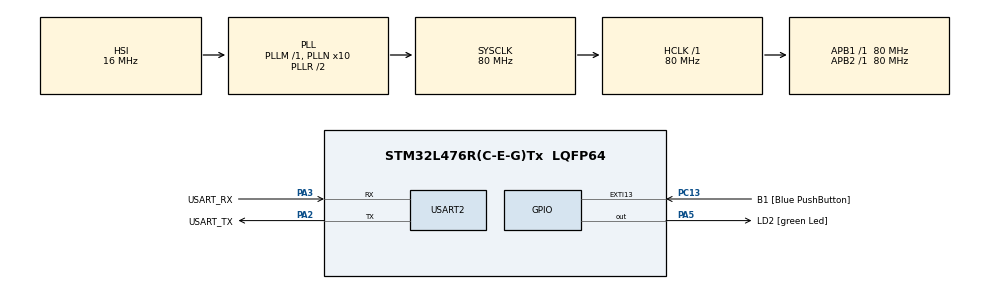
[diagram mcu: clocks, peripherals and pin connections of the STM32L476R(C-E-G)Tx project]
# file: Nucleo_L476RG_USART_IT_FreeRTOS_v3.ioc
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Mcu.Family=STM32L4
PA2.GPIO_PuPd=GPIO_NOPULL
FREERTOS.Queues01=RxQueue,128,uint8_t,0,Dynamic,NULL,NULL;Queue01,16,uint16_t,0,Dynamic,NULL,NULL
VP_SYS_VS_tim6.Mode=TIM6
RCC.CortexFreq_Value=80000000
FREERTOS.BinarySemaphores01=BinarySem01,Dynamic,NULL
NVIC.TIM6_DAC_IRQn=true\:0\:0\:false\:false\:true\:false\:false\:true
PH0-OSC_IN\ (PH0).Signal=RCC_OSC_IN
PA3.GPIO_PuPd=GPIO_NOPULL
PA2.GPIO_Speed=GPIO_SPEED_FREQ_VERY_HIGH
PC15-OSC32_OUT\ (PC15).Mode=LSE-External-Oscillator
PC13.GPIO_Label=B1 [Blue PushButton]
PA3.GPIO_Speed=GPIO_SPEED_FREQ_VERY_HIGH
RCC.SYSCLKSource=RCC_SYSCLKSOURCE_PLLCLK
ProjectManager.StackSize=0x1000
PB3\ (JTDO-TRACESWO).Signal=SYS_JTDO-SWO
PC14-OSC32_IN\ (PC14).Mode=LSE-External-Oscillator
PA14\ (JTCK-SWCLK).Signal=SYS_JTCK-SWCLK
RCC.HCLKFreq_Value=80000000
RCC.APB2TimFreq_Value=80000000
RCC.AHBFreq_Value=80000000
RCC.PREFETCH_ENABLE=1
RCC.HSE_VALUE=8000000
USART2.VirtualMode-Asynchronous=VM_ASYNC
PA5.GPIO_PuPd=GPIO_NOPULL
PC13.GPIO_PuPd=GPIO_NOPULL
VP_FREERTOS_VS_CMSIS_V1.Mode=CMSIS_V1
FREERTOS.configTOTAL_HEAP_SIZE=4000
Mcu.Package=LQFP64
FREERTOS.configUSE_NEWLIB_REENTRANT=1
NVIC.TimeBase=TIM6_DAC_IRQn
PA2.GPIO_Label=USART_TX
NVIC.TimeBaseIP=TIM6
RCC.APB1TimFreq_Value=80000000
PA13\ (JTMS-SWDIO).Signal=SYS_JTMS-SWDIO
PA3.Signal=USART2_RX
PA2.GPIO_Mode=GPIO_MODE_AF_PP
RCC.MSI_VALUE=4000000
RCC.PLLSourceVirtual=RCC_PLLSOURCE_HSI
PA14\ (JTCK-SWCLK).Mode=Serial_Wire
FREERTOS.Tasks01=UartTask,-3,512,StartUartTask,Default,NULL,Dynamic,NULL,NULL;LedTask,-3,128,StartLedTask,Default,NULL,Dynamic,NULL,NULL
PC13.Signal=GPXTI13
PC15-OSC32_OUT\ (PC15).Signal=RCC_OSC32_OUT
PA14\ (JTCK-SWCLK).GPIO_Label=TCK
PB3\ (JTDO-TRACESWO).GPIO_Label=SWO
NVIC.USART2_IRQn=true\:6\:0\:true\:false\:true\:false\:true\:true
PH1-OSC_OUT\ (PH1).Signal=RCC_OSC_OUT
PA3.Mode=Asynchronous
ProjectManager.TargetToolchain=STM32CubeIDE
PA3.GPIO_Mode=GPIO_MODE_AF_PP
RCC.USBFreq_Value=64000000
PA5.Signal=GPIO_Output
board=NUCLEO-L476RG
RCC.VCOOutputFreq_Value=160000000
RCC.APB2Freq_Value=80000000
PA5.GPIO_ModeDefaultOutputPP=GPIO_MODE_OUTPUT_PP
PA13\ (JTMS-SWDIO).GPIO_Label=TMS
RCC.ADCFreq_Value=64000000
Mcu.Name=STM32L476R(C-E-G)Tx
PA2.Signal=USART2_TX
PA13\ (JTMS-SWDIO).Mode=Serial_Wire
RCC.SYSCLKFreq_VALUE=80000000
PA5.GPIO_Label=LD2 [green Led]
PC13.GPIO_ModeDefaultEXTI=GPIO_MODE_IT_FALLING
PC14-OSC32_IN\ (PC14).Signal=RCC_OSC32_IN
ProjectManager.HeapSize=0x1000
RCC.HSI_VALUE=16000000
PA5.GPIO_Speed=GPIO_SPEED_FREQ_LOW
NVIC.PriorityGroup=NVIC_PRIORITYGROUP_4
RCC.PLLN=10
PA2.Mode=Asynchronous
RCC.APB1Freq_Value=80000000
PA3.GPIO_Label=USART_RX

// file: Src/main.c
/* USER CODE BEGIN Header */
/**
 ******************************************************************************
 * @file           : main.c
 * @brief          : Main program body
 ******************************************************************************
 * @attention
 *
 * <h2><center>&copy; Copyright (c) 2020 STMicroelectronics.
 * All rights reserved.</center></h2>
 *
 * This software component is licensed by ST under Ultimate Liberty license
 * SLA0044, the "License"; You may not use this file except in compliance with
 * the License. You may obtain a copy of the License at:
 *                             www.st.com/SLA0044
 *
 ******************************************************************************
 */
/* USER CODE END Header */
#include "main.h"
#include "cmsis_os.h"

/* USER CODE BEGIN Includes */

#include <stdio.h>
#include <stdlib.h>
#include <string.h>

/* USER CODE END Includes */

/* USER CODE BEGIN PTD */

typedef struct {
	char name[10];
	uint16_t nbArgs;
	void (*pCmdFunc)();
} CMD_T;

/* USER CODE END PTD */

osThreadId UartTaskHandle;
osThreadId LedTaskHandle;
osMessageQId RxQueueHandle;
osMessageQId Queue01Handle;
osSemaphoreId BinarySem01Handle;
/* USER CODE BEGIN PV */

__IO uint16_t cmdIndex=0;
#define DEBUG 1
#define MAXARGS 3 // 3 maximum number of arguments

void CMD_on(   uint16_t nbArgs, int32_t *args );
void CMD_off(  uint16_t nbArgs, int32_t *args );

const CMD_T CmdTable[] = {
		{"on",   0, (void*) CMD_on},
		{"off",  0, (void*) CMD_off},
		{"",     0, NULL}
};

uint8_t rxBuff[256];

static uint8_t rxInProgress = 0;
static uint_fast16_t rxItr = 0;
/* USER CODE END PV */

void SystemClock_Config(void);
static void MX_GPIO_Init(void);
static void MX_USART2_UART_Init(void);
void StartUartTask(void const * argument);
void StartLedTask(void const * argument);

/* USER CODE BEGIN PFP */

void UART_ReadString(char* str);
void CMD_Parser(char* str);

/* USER CODE END PFP */

/* USER CODE BEGIN 0 */

// printf under freeRTOS
// https://github.com/leech001/STM32-FreeRTOS-float

//1. Remove the heap_4.c file from the
//\Middlewares\Third_Party\FreeRTOS\Source\portable\MemMang\ directory of your project
//2. Copy the heap_useNewlib.c file from the given repository (src) to the above directory;
//3. Open the FreeRTOS configuration file (FreeRTOSConfig.h) and add an additional define to the section;

// /* USER CODE BEGIN Defines */
// /* Section where parameter definitions can be added (for instance, to override default ones in FreeRTOS.h) */
// #define configUSE_NEWLIB_REENTRANT 1
// /* USER CODE END Defines */
#define PRINTF

int _write(int file, char *ptr, int len)
{
	for (uint8_t i=0; i<len; i++){
		LL_USART_TransmitData8(USART2, ptr[i]);
		while ( !LL_USART_IsActiveFlag_TXE(USART2) )
		{
		}
	}
	return len;
}

/* USER CODE END 0 */

int main(void)
{

  /* MCU Configuration--------------------------------------------------------*/

  /* Reset of all peripherals, Initializes the Flash interface and the Systick. */
  HAL_Init();

  /* Configure the system clock */
  SystemClock_Config();

  /* Initialize all configured peripherals */
  MX_GPIO_Init();
  MX_USART2_UART_Init();

  /* Create the semaphores(s) */
  /* definition and creation of BinarySem01 */
  osSemaphoreDef(BinarySem01);
  BinarySem01Handle = osSemaphoreCreate(osSemaphore(BinarySem01), 1);

  /* USER CODE BEGIN RTOS_SEMAPHORES */
	/* add semaphores, ... */
  osSemaphoreWait(BinarySem01Handle, osWaitForever);
  /* USER CODE END RTOS_SEMAPHORES */

  /* Create the queue(s) */
  /* definition and creation of RxQueue */
  osMessageQDef(RxQueue, 128, uint8_t);
  RxQueueHandle = osMessageCreate(osMessageQ(RxQueue), NULL);

  /* definition and creation of Queue01 */
  osMessageQDef(Queue01, 16, uint16_t);
  Queue01Handle = osMessageCreate(osMessageQ(Queue01), NULL);

  /* Create the thread(s) */
  /* definition and creation of UartTask */
  osThreadDef(UartTask, StartUartTask, osPriorityIdle, 0, 512);
  UartTaskHandle = osThreadCreate(osThread(UartTask), NULL);

  /* definition and creation of LedTask */
  osThreadDef(LedTask, StartLedTask, osPriorityIdle, 0, 128);
  LedTaskHandle = osThreadCreate(osThread(LedTask), NULL);

  /* Start scheduler */
  osKernelStart();

  /* We should never get here as control is now taken by the scheduler */
  /* Infinite loop */
	while (1)
	{

	}
}

void SystemClock_Config(void)
{
  RCC_OscInitTypeDef RCC_OscInitStruct = {0};
  RCC_ClkInitTypeDef RCC_ClkInitStruct = {0};
  RCC_PeriphCLKInitTypeDef PeriphClkInit = {0};

  /** Initializes the RCC Oscillators according to the specified parameters
  * in the RCC_OscInitTypeDef structure.
  */
  RCC_OscInitStruct.OscillatorType = RCC_OSCILLATORTYPE_HSI;
  RCC_OscInitStruct.HSIState = RCC_HSI_ON;
  RCC_OscInitStruct.HSICalibrationValue = RCC_HSICALIBRATION_DEFAULT;
  RCC_OscInitStruct.PLL.PLLState = RCC_PLL_ON;
  RCC_OscInitStruct.PLL.PLLSource = RCC_PLLSOURCE_HSI;
  RCC_OscInitStruct.PLL.PLLM = 1;
  RCC_OscInitStruct.PLL.PLLN = 10;
  RCC_OscInitStruct.PLL.PLLP = RCC_PLLP_DIV7;
  RCC_OscInitStruct.PLL.PLLQ = RCC_PLLQ_DIV2;
  RCC_OscInitStruct.PLL.PLLR = RCC_PLLR_DIV2;
  if (HAL_RCC_OscConfig(&RCC_OscInitStruct) != HAL_OK)
  {
    Error_Handler();
  }
  /** Initializes the CPU, AHB and APB buses clocks
  */
  RCC_ClkInitStruct.ClockType = RCC_CLOCKTYPE_HCLK|RCC_CLOCKTYPE_SYSCLK
                              |RCC_CLOCKTYPE_PCLK1|RCC_CLOCKTYPE_PCLK2;
  RCC_ClkInitStruct.SYSCLKSource = RCC_SYSCLKSOURCE_PLLCLK;
  RCC_ClkInitStruct.AHBCLKDivider = RCC_SYSCLK_DIV1;
  RCC_ClkInitStruct.APB1CLKDivider = RCC_HCLK_DIV1;
  RCC_ClkInitStruct.APB2CLKDivider = RCC_HCLK_DIV1;

  if (HAL_RCC_ClockConfig(&RCC_ClkInitStruct, FLASH_LATENCY_4) != HAL_OK)
  {
    Error_Handler();
  }
  PeriphClkInit.PeriphClockSelection = RCC_PERIPHCLK_USART2;
  PeriphClkInit.Usart2ClockSelection = RCC_USART2CLKSOURCE_PCLK1;
  if (HAL_RCCEx_PeriphCLKConfig(&PeriphClkInit) != HAL_OK)
  {
    Error_Handler();
  }
  /** Configure the main internal regulator output voltage
  */
  if (HAL_PWREx_ControlVoltageScaling(PWR_REGULATOR_VOLTAGE_SCALE1) != HAL_OK)
  {
    Error_Handler();
  }
}

static void MX_USART2_UART_Init(void)
{

  LL_USART_InitTypeDef USART_InitStruct = {0};

  LL_GPIO_InitTypeDef GPIO_InitStruct = {0};

  /* Peripheral clock enable */
  LL_APB1_GRP1_EnableClock(LL_APB1_GRP1_PERIPH_USART2);

  LL_AHB2_GRP1_EnableClock(LL_AHB2_GRP1_PERIPH_GPIOA);
  /**USART2 GPIO Configuration
  PA2   ------> USART2_TX
  PA3   ------> USART2_RX
  */
  GPIO_InitStruct.Pin = LL_GPIO_PIN_2|LL_GPIO_PIN_3;
  GPIO_InitStruct.Mode = LL_GPIO_MODE_ALTERNATE;
  GPIO_InitStruct.Speed = LL_GPIO_SPEED_FREQ_VERY_HIGH;
  GPIO_InitStruct.OutputType = LL_GPIO_OUTPUT_PUSHPULL;
  GPIO_InitStruct.Pull = LL_GPIO_PULL_NO;
  GPIO_InitStruct.Alternate = LL_GPIO_AF_7;
  LL_GPIO_Init(GPIOA, &GPIO_InitStruct);

  /* USART2 interrupt Init */
  NVIC_SetPriority(USART2_IRQn, NVIC_EncodePriority(NVIC_GetPriorityGrouping(),6, 0));
  NVIC_EnableIRQ(USART2_IRQn);

  USART_InitStruct.BaudRate = 115200;
  USART_InitStruct.DataWidth = LL_USART_DATAWIDTH_8B;
  USART_InitStruct.StopBits = LL_USART_STOPBITS_1;
  USART_InitStruct.Parity = LL_USART_PARITY_NONE;
  USART_InitStruct.TransferDirection = LL_USART_DIRECTION_TX_RX;
  USART_InitStruct.HardwareFlowControl = LL_USART_HWCONTROL_NONE;
  USART_InitStruct.OverSampling = LL_USART_OVERSAMPLING_16;
  LL_USART_Init(USART2, &USART_InitStruct);
  LL_USART_ConfigAsyncMode(USART2);
  LL_USART_Enable(USART2);
  /* USER CODE BEGIN USART2_Init 2 */

	/* Polling USART initialisation */
	while((!(LL_USART_IsActiveFlag_TEACK(USART2))) || (!(LL_USART_IsActiveFlag_REACK(USART2))))
	{
	}

  /* USER CODE END USART2_Init 2 */

}

static void MX_GPIO_Init(void)
{
  GPIO_InitTypeDef GPIO_InitStruct = {0};

  /* GPIO Ports Clock Enable */
  __HAL_RCC_GPIOC_CLK_ENABLE();
  __HAL_RCC_GPIOH_CLK_ENABLE();
  __HAL_RCC_GPIOA_CLK_ENABLE();
  __HAL_RCC_GPIOB_CLK_ENABLE();

  /*Configure GPIO pin Output Level */
  HAL_GPIO_WritePin(LD2_GPIO_Port, LD2_Pin, GPIO_PIN_RESET);

  /*Configure GPIO pin : B1_Pin */
  GPIO_InitStruct.Pin = B1_Pin;
  GPIO_InitStruct.Mode = GPIO_MODE_IT_FALLING;
  GPIO_InitStruct.Pull = GPIO_NOPULL;
  HAL_GPIO_Init(B1_GPIO_Port, &GPIO_InitStruct);

  /*Configure GPIO pin : LD2_Pin */
  GPIO_InitStruct.Pin = LD2_Pin;
  GPIO_InitStruct.Mode = GPIO_MODE_OUTPUT_PP;
  GPIO_InitStruct.Pull = GPIO_NOPULL;
  GPIO_InitStruct.Speed = GPIO_SPEED_FREQ_LOW;
  HAL_GPIO_Init(LD2_GPIO_Port, &GPIO_InitStruct);

}

/* USER CODE BEGIN 4 */

/**
  * @brief  This function prints user info on PC com port and initiates RX transfer
  * @param  None
  * @retval None
  */
void StartReception(void)
{
	rxBuff[0]='\0';
	rxItr = 0;
	rxInProgress = 1;

  /* Clear Overrun flag, in case characters have already been sent to USART */
  LL_USART_ClearFlag_ORE(USART2);

  /* Enable RXNE and Error interrupts */
  LL_USART_EnableIT_RXNE(USART2);
  LL_USART_EnableIT_ERROR(USART2);
}

/**
 * @brief  Function called from USART IRQ Handler when RXNE flag is set
 *         Function is in charge of reading character received on USART RX line.
 * @param  None
 * @retval None
 */
void USART_CharReception_Callback(void)
{
	__IO uint8_t received_char;

	/* Read Received character. RXNE flag is cleared by reading of RDR register */
	received_char = LL_USART_ReceiveData8(USART2);

	if(rxInProgress)
	{
		rxBuff[rxItr++] = received_char;
		if ((received_char == '\r') || (received_char == '\n')){
			rxInProgress = 0;
			rxBuff[rxItr] = '\0';
			rxItr=0;
			osSemaphoreRelease(BinarySem01Handle);
		}
	}

	/* Echo received character on TX */
	//LL_USART_TransmitData8(USART2, received_char);
}

/**
 * @brief  Function called in case of error detected in USART IT Handler
 * @param  None
 * @retval None
 */
void Error_Callback(void)
{

	while(1) { ; }

}

//void USART2_IRQHandler(void)
//{
//  long xHigherPriorityTaskWoken = pdFALSE;
//  uint8_t ch;
//  //if Receive interrupt
//  if (UART_GetITStatus(&huart2, UART_IT_RXNE) != RESET)
//    {
//      ch=(uint8_t)UART_ReceiveData(&huart2);
//      xQueueSendToBackFromISR( RxQueueHandle, &ch, &xHigherPriorityTaskWoken );
//    }
//
////  if (USART_GetITStatus(USART2, USART_IT_TXE) != RESET)
////        {
////      if( xQueueReceiveFromISR( TxQueue, &ch, &xHigherPriorityTaskWoken ) )
////        {
////          USART_SendData(USART1, ch);
////        }else{
////           //disable Transmit Data Register empty interrupt
////           USART_ITConfig(USART1, USART_IT_TXE, DISABLE);
////             }
////        }
//  portEND_SWITCHING_ISR( xHigherPriorityTaskWoken );
//}

//void HAL_UART_RxCpltCallback(UART_HandleTypeDef *huart)
//{
//	osSemaphoreRelease(BinarySem01Handle);
////	if (readBuf[0]=='\n'){
////		osSemaphoreRelease(BinarySem01Handle);
////	    }
//}

/**
 * @brief  Parses a command string
 * @param char array
 * @retval None
 */
void CMD_Parser(char* buffer){
	// get the first token
	char cmd[256], str[256];
	const char token[] = " ,"; // token[3]={' ' ,  ',' , '\0'}

	buffer[strcspn(buffer, "\r\n")] = 0; // works for LF, CR, CRLF, LFCR, ...
	/* Renvoie la longueur de la plus grande sous-chaîne (en partant du début de la chaîne initiale)
	   ne contenant aucun des caractères spécifiés dans la liste des caractères en rejet \r\n
	 */

	strncpy(cmd, buffer, 256);
	char *sCmd = strtok(cmd, token);

	snprintf(str, 256, "Cmd Name #%s#\n", sCmd);
	printf("%s\n", str);

	/* Command Callback identification */
	uint8_t MATCH=0;
	for(cmdIndex=0; CmdTable[cmdIndex].pCmdFunc!=NULL; cmdIndex++) {
		if (strcmp(CmdTable[cmdIndex].name, sCmd) == 0 ){
			MATCH=1;
			break;
		}
	}
	if (!MATCH) return;

	uint16_t nbArgs=CmdTable[cmdIndex].nbArgs;

#if DEBUG
	snprintf(str, 256, "Function Call %d Parameters Number %d\n", cmdIndex, nbArgs);
	printf("%s\n", str);
#endif

	int32_t funcArgs[MAXARGS];
	for (uint16_t n=0; n<nbArgs; n++){
		sCmd = strtok(NULL, token);
		funcArgs[n]=atoi(sCmd);
	}

#if DEBUG
	snprintf(str, 256, "Function Pointer %p\n", CmdTable[cmdIndex].pCmdFunc);
	printf("%s\n", str);
#endif

	if(CmdTable[cmdIndex].pCmdFunc!=NULL){
#if DEBUG
		snprintf(str, 256, "Function Call %d\n", cmdIndex);
		printf("%s\n", str);
#endif
		CmdTable[cmdIndex].pCmdFunc(nbArgs, funcArgs);
	}
	else{
		Error_Handler();
	}
}

void CMD_on(uint16_t nbArgs, int32_t *args ){
	osStatus status;
	status=osMessagePut(Queue01Handle, 0x01, 200);
	if (status) Error_Handler();

	//printf("Cmd %s\n", CmdTable[cmdIndex].name);
	//HAL_GPIO_WritePin(LD2_GPIO_Port, LD2_Pin, GPIO_PIN_SET);
	//printf("CPLT\n");
}

void CMD_off(uint16_t nbArgs, int32_t *args ){
	osStatus status;
	status=osMessagePut(Queue01Handle, 0x02, 200);
	if (status) Error_Handler();

	//printf("Cmd %s\n", CmdTable[cmdIndex].name);
	//HAL_GPIO_WritePin(LD2_GPIO_Port, LD2_Pin, GPIO_PIN_RESET);
	//printf("CPLT\n");
}

/* USER CODE END 4 */

void StartUartTask(void const * argument)
{
  /* USER CODE BEGIN 5 */

	/* Infinite loop */
	StartReception();

	for(;;)
	{
		osDelay(1);
		rxInProgress = 1;
		osSemaphoreWait(BinarySem01Handle, osWaitForever);  // osWaitForever -> 100
		printf("%s\n", rxBuff);

		CMD_Parser(rxBuff);
		//HAL_GPIO_TogglePin(LD2_GPIO_Port, LD2_Pin);
	}
  /* USER CODE END 5 */
}

void StartLedTask(void const * argument)
{
  /* USER CODE BEGIN StartLedTask */
	osEvent ev;
	/* Infinite loop */
	for(;;)
	{
		osDelay(1);
		ev=osMessageGet(Queue01Handle, 400);
		if (!(ev.status | (osEventTimeout | osEventMessage))) Error_Handler();   // Timeout exclu
		printf("status %u msg %lu \n\r", ev.status, ev.value.v);

		switch (ev.value.v) {
		case 0x01:
			HAL_GPIO_WritePin(LD2_GPIO_Port, LD2_Pin, GPIO_PIN_SET);
			break;
		case 0x02:
			HAL_GPIO_WritePin(LD2_GPIO_Port, LD2_Pin, GPIO_PIN_RESET);
			break;
		}
	}
  /* USER CODE END StartLedTask */
}

void HAL_TIM_PeriodElapsedCallback(TIM_HandleTypeDef *htim)
{
  if (htim->Instance == TIM6) {
    HAL_IncTick();
  }
}

void Error_Handler(void)
{
  /* USER CODE BEGIN Error_Handler_Debug */
	/* User can add his own implementation to report the HAL error return state */

	while(1){
		HAL_GPIO_TogglePin(LD2_GPIO_Port, LD2_Pin);
		HAL_Delay(1000);
	}
  /* USER CODE END Error_Handler_Debug */
}

/************************ (C) COPYRIGHT STMicroelectronics *****END OF FILE****/
